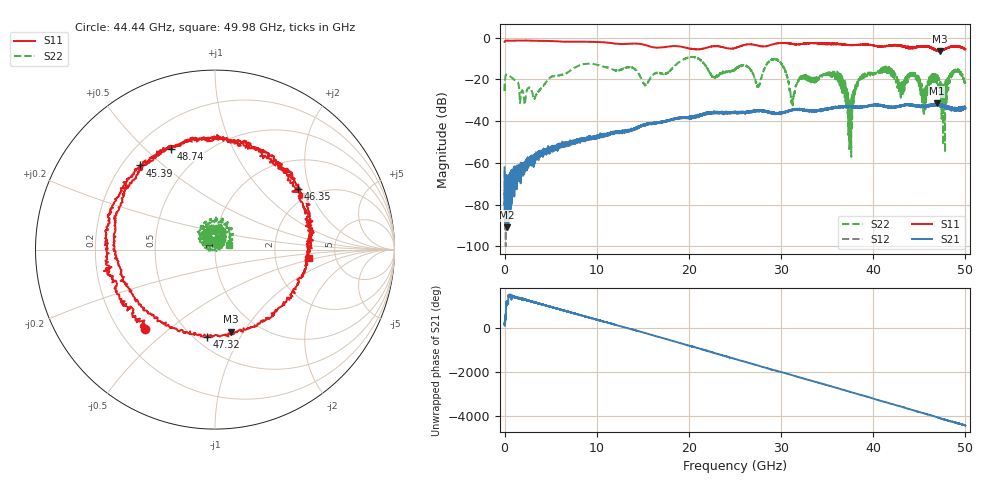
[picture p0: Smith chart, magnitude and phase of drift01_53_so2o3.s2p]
!Created with skrf (http://scikit-rf.org).
# Hz S RI R 50.0
!freq ReS11 ImS11 ReS21 ImS21 ReS12 ImS12 ReS22 ImS22
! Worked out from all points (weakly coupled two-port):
!   10001 points, 300 kHz to 50 GHz, reference 50 ohm
!   highest |S21| = -31.54 dB at 46.88 GHz (marker M1); lowest = -90.9 dB at 260.3 MHz (marker M2)
!   lowest |S11| = -6.6 dB at 47.21 GHz (marker M3), VSWR 2.74, Z = 37.8 - j44.1 ohm
!   |S11| at or under -10 dB: nowhere
!   |S22| runs from -57.2 to -9.2 dB; largest |S21 - S12| = 0.0037
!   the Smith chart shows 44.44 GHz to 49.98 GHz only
!   S11 on the Smith chart (normalised r, x): 44.44 GHz: 0.31, -0.42; 45.39 GHz: 0.27, +0.42; 46.35 GHz: 1.67, +1.67; 47.32 GHz: 0.57, -0.73; 48.74 GHz: 0.33, +0.60; 49.98 GHz: 3.15, -0.41
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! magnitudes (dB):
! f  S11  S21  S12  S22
! 300 kHz  -2.1  -62.2  -63.8  -22.2
! 260.3 MHz  -1.4  -90.9  -71.4  -17.7
! 3.29 GHz  -1.5  -57.4  -58.3  -28.9
! 8.335 GHz  -1.9  -48.9  -48.7  -12.9
! 16.67 GHz  -4.8  -40.5  -40.7  -16.7
! 25 GHz  -5.0  -36.0  -36.0  -15.6
! 29.61 GHz  -2.8  -36.5  -36.5  -10.6
! 31.24 GHz  -3.0  -34.8  -34.5  -31.3
! 33.34 GHz  -2.6  -35.3  -34.9  -19.3
! 36.21 GHz  -3.2  -33.2  -33.4  -21.8
! 37.48 GHz  -3.6  -33.2  -33.0  -32.5
! 38.66 GHz  -3.3  -33.2  -33.2  -20.4
! 41.67 GHz  -3.9  -33.0  -33.3  -15.5
! 44.44 GHz  -4.6  -32.3  -32.4  -18.6
! 45.39 GHz  -4.0  -33.1  -33.0  -26.4
! 46.35 GHz  -4.9  -32.2  -32.5  -19.8
! 46.88 GHz  -6.2  -31.5  -32.0  -21.8
! 47.21 GHz  -6.6  -32.1  -32.1  -25.4
! 47.32 GHz  -6.2  -32.1  -32.2  -20.8
! 48.74 GHz  -4.2  -34.7  -34.7  -15.9
! 49.98 GHz  -5.6  -33.4  -33.4  -21.5
! 50 GHz  -5.5  -34.0  -33.3  -21.8
